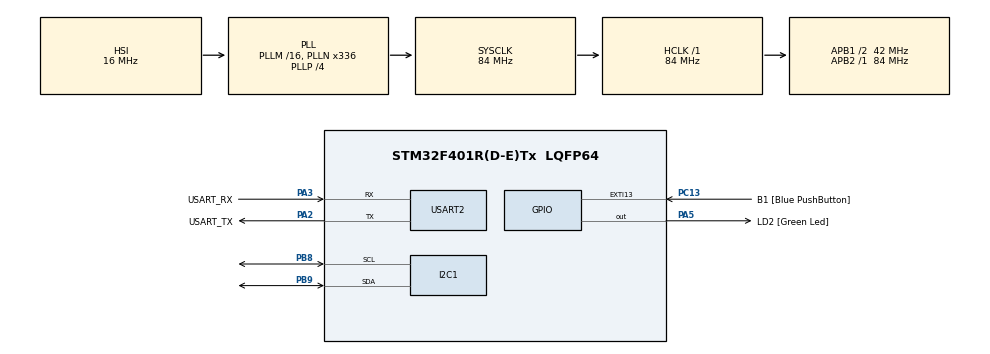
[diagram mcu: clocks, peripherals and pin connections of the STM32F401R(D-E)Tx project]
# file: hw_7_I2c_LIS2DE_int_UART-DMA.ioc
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Dma.Request0=USART2_TX
Dma.USART2_TX.0.Direction=DMA_MEMORY_TO_PERIPH
Dma.USART2_TX.0.FIFOMode=DMA_FIFOMODE_DISABLE
Dma.USART2_TX.0.Instance=DMA1_Stream6
Dma.USART2_TX.0.MemDataAlignment=DMA_MDATAALIGN_BYTE
Dma.USART2_TX.0.MemInc=DMA_MINC_ENABLE
Dma.USART2_TX.0.Mode=DMA_NORMAL
Dma.USART2_TX.0.PeriphDataAlignment=DMA_PDATAALIGN_BYTE
Dma.USART2_TX.0.PeriphInc=DMA_PINC_DISABLE
Dma.USART2_TX.0.Priority=DMA_PRIORITY_HIGH
Mcu.Family=STM32F4
Mcu.Name=STM32F401R(D-E)Tx
Mcu.Package=LQFP64
NVIC.DMA1_Stream6_IRQn=true\:0\:0\:false\:false\:true\:false\:true\:true
NVIC.PriorityGroup=NVIC_PRIORITYGROUP_0
NVIC.TIM1_UP_TIM10_IRQn=true\:0\:0\:false\:false\:true\:true\:true\:true
NVIC.USART2_IRQn=true\:0\:0\:false\:false\:true\:true\:true\:true
PA13.GPIO_Label=TMS
PA13.Mode=Serial_Wire
PA13.Signal=SYS_JTMS-SWDIO
PA14.GPIO_Label=TCK
PA14.Mode=Serial_Wire
PA14.Signal=SYS_JTCK-SWCLK
PA2.GPIO_Label=USART_TX
PA2.GPIO_Mode=GPIO_MODE_AF_PP
PA2.GPIO_PuPd=GPIO_NOPULL
PA2.GPIO_Speed=GPIO_SPEED_FREQ_LOW
PA2.Mode=Asynchronous
PA2.Signal=USART2_TX
PA3.GPIO_Label=USART_RX
PA3.GPIO_Mode=GPIO_MODE_AF_PP
PA3.GPIO_PuPd=GPIO_NOPULL
PA3.GPIO_Speed=GPIO_SPEED_FREQ_LOW
PA3.Mode=Asynchronous
PA3.Signal=USART2_RX
PA5.GPIO_Label=LD2 [Green Led]
PA5.GPIO_Mode=GPIO_MODE_OUTPUT_PP
PA5.GPIO_PuPd=GPIO_NOPULL
PA5.GPIO_Speed=GPIO_SPEED_FREQ_LOW
PA5.Signal=GPIO_Output
PB3.GPIO_Label=SWO
PB3.Signal=SYS_JTDO-SWO
PB8.Mode=I2C
PB8.Signal=I2C1_SCL
PB9.Mode=I2C
PB9.Signal=I2C1_SDA
PC13-ANTI_TAMP.GPIO_Label=B1 [Blue PushButton]
PC13-ANTI_TAMP.GPIO_ModeDefaultEXTI=GPIO_MODE_IT_FALLING
PC13-ANTI_TAMP.GPIO_PuPd=GPIO_NOPULL
PC13-ANTI_TAMP.Signal=GPXTI13
PC14-OSC32_IN.Mode=LSE-External-Oscillator
PC14-OSC32_IN.Signal=RCC_OSC32_IN
PC15-OSC32_OUT.Mode=LSE-External-Oscillator
PC15-OSC32_OUT.Signal=RCC_OSC32_OUT
PH0\ -\ OSC_IN.Mode=HSE-External-Clock-Source
PH0\ -\ OSC_IN.Signal=RCC_OSC_IN
PH1\ -\ OSC_OUT.Mode=HSE-External-Clock-Source
PH1\ -\ OSC_OUT.Signal=RCC_OSC_OUT
ProjectManager.HeapSize=0x200
ProjectManager.StackSize=0x400
ProjectManager.TargetToolchain=STM32CubeIDE
RCC.48MHZClocksFreq_Value=48000000
RCC.AHBFreq_Value=84000000
RCC.APB1CLKDivider=RCC_HCLK_DIV2
RCC.APB1Freq_Value=42000000
RCC.APB1TimFreq_Value=84000000
RCC.APB2Freq_Value=84000000
RCC.APB2TimFreq_Value=84000000
RCC.CortexFreq_Value=84000000
RCC.HCLKFreq_Value=84000000
RCC.HSE_VALUE=8000000
RCC.HSI_VALUE=16000000
RCC.PLLN=336
RCC.PLLP=RCC_PLLP_DIV4
RCC.PLLQ=7
RCC.SYSCLKFreq_VALUE=84000000
RCC.SYSCLKSource=RCC_SYSCLKSOURCE_PLLCLK
RCC.VCOOutputFreq_Value=336000000
TIM10.Period=10000-1
TIM10.Prescaler=8400-1
USART2.VirtualMode=VM_ASYNC
VP_TIM10_VS_ClockSourceINT.Mode=Enable_Timer
board=NUCLEO-F401RE

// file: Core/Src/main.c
/* USER CODE BEGIN Header */
/**
  ******************************************************************************
  * @file           : main.c
  * @brief          : Main program body
  ******************************************************************************
  * @attention
  *
  * Copyright (c) 2023 STMicroelectronics.
  * All rights reserved.
  *
  * This software is licensed under terms that can be found in the LICENSE file
  * in the root directory of this software component.
  * If no LICENSE file comes with this software, it is provided AS-IS.
  *
  ******************************************************************************
  */
/* USER CODE END Header */
#include "main.h"

I2C_HandleTypeDef hi2c1;

TIM_HandleTypeDef htim10;

UART_HandleTypeDef huart2;
DMA_HandleTypeDef hdma_usart2_tx;

/* USER CODE BEGIN PV */
uint8_t LIS2DE_ADDRESS = 0b01010000; // LIS2DE
//uint8_t LIS2DE_ADDRESS = 0b00110000; // LIS2DE12

uint8_t LIS2DE_CTRL_1[] = {0x20, 0b00010111}; // 1 Hz + XYZ
uint8_t LIS2DE_CTRL_2[] = {0x21, 0b00000000}; // no HPF
uint8_t LIS2DE_CTRL_4[] = {0x23, 0b00000000}; // continuous update + 2g FSR, no self test

uint8_t LIS2DE_X = 0x29;
uint8_t LIS2DE_Y = 0x2B;
uint8_t LIS2DE_Z = 0x2D;
/* USER CODE END PV */

void SystemClock_Config(void);
static void MX_GPIO_Init(void);
static void MX_DMA_Init(void);
static void MX_USART2_UART_Init(void);
static void MX_TIM10_Init(void);
static void MX_I2C1_Init(void);

/* USER CODE BEGIN 0 */

void HAL_TIM_PeriodElapsedCallback(TIM_HandleTypeDef *htim) {

	if (htim == &htim10) {

		int8_t accelerometer_x_raw;
		HAL_I2C_Master_Transmit(&hi2c1, LIS2DE_ADDRESS, &LIS2DE_X, 1, 50);
		HAL_I2C_Master_Receive(&hi2c1, LIS2DE_ADDRESS+1, &accelerometer_x_raw, 1, 50);

		int8_t accelerometer_y_raw;
		HAL_I2C_Master_Transmit(&hi2c1, LIS2DE_ADDRESS, &LIS2DE_Y, 1, 50);
		HAL_I2C_Master_Receive(&hi2c1, LIS2DE_ADDRESS+1, &accelerometer_y_raw, 1, 50);

		int8_t accelerometer_z_raw;
		HAL_I2C_Master_Transmit(&hi2c1, LIS2DE_ADDRESS, &LIS2DE_Z, 1, 50);
		HAL_I2C_Master_Receive(&hi2c1, LIS2DE_ADDRESS+1, &accelerometer_z_raw, 1, 50);

		float accelerometer_x = accelerometer_x_raw / 64.0;
		float accelerometer_y = accelerometer_y_raw / 64.0;
		float accelerometer_z = accelerometer_z_raw / 64.0;

		char string[64];
		snprintf(string, sizeof(string), "-> x: %+.2f g | y: %+.2f g | z: %+.2f g\r\n", accelerometer_x, accelerometer_y, accelerometer_z);
		HAL_UART_Transmit_DMA(&huart2, (uint8_t *)string, strlen(string));

	}

}

/* USER CODE END 0 */

int main(void)
{

  /* MCU Configuration--------------------------------------------------------*/

  /* Reset of all peripherals, Initializes the Flash interface and the Systick. */
  HAL_Init();

  /* Configure the system clock */
  SystemClock_Config();

  /* Initialize all configured peripherals */
  MX_GPIO_Init();
  MX_DMA_Init();
  MX_USART2_UART_Init();
  MX_TIM10_Init();
  MX_I2C1_Init();
  /* USER CODE BEGIN 2 */

  HAL_I2C_Master_Transmit(&hi2c1, LIS2DE_ADDRESS, LIS2DE_CTRL_1, sizeof(LIS2DE_CTRL_1), 50);
  HAL_I2C_Master_Transmit(&hi2c1, LIS2DE_ADDRESS, LIS2DE_CTRL_2, sizeof(LIS2DE_CTRL_2), 50);
  HAL_I2C_Master_Transmit(&hi2c1, LIS2DE_ADDRESS, LIS2DE_CTRL_4, sizeof(LIS2DE_CTRL_4), 50);

  HAL_TIM_Base_Start_IT(&htim10);

  /* USER CODE END 2 */

  /* Infinite loop */
  while (1)
  {

  }
}

void SystemClock_Config(void)
{
  RCC_OscInitTypeDef RCC_OscInitStruct = {0};
  RCC_ClkInitTypeDef RCC_ClkInitStruct = {0};

  /** Configure the main internal regulator output voltage
  */
  __HAL_RCC_PWR_CLK_ENABLE();
  __HAL_PWR_VOLTAGESCALING_CONFIG(PWR_REGULATOR_VOLTAGE_SCALE2);

  /** Initializes the RCC Oscillators according to the specified parameters
  * in the RCC_OscInitTypeDef structure.
  */
  RCC_OscInitStruct.OscillatorType = RCC_OSCILLATORTYPE_HSI;
  RCC_OscInitStruct.HSIState = RCC_HSI_ON;
  RCC_OscInitStruct.HSICalibrationValue = RCC_HSICALIBRATION_DEFAULT;
  RCC_OscInitStruct.PLL.PLLState = RCC_PLL_ON;
  RCC_OscInitStruct.PLL.PLLSource = RCC_PLLSOURCE_HSI;
  RCC_OscInitStruct.PLL.PLLM = 16;
  RCC_OscInitStruct.PLL.PLLN = 336;
  RCC_OscInitStruct.PLL.PLLP = RCC_PLLP_DIV4;
  RCC_OscInitStruct.PLL.PLLQ = 7;
  if (HAL_RCC_OscConfig(&RCC_OscInitStruct) != HAL_OK)
  {
    Error_Handler();
  }

  /** Initializes the CPU, AHB and APB buses clocks
  */
  RCC_ClkInitStruct.ClockType = RCC_CLOCKTYPE_HCLK|RCC_CLOCKTYPE_SYSCLK
                              |RCC_CLOCKTYPE_PCLK1|RCC_CLOCKTYPE_PCLK2;
  RCC_ClkInitStruct.SYSCLKSource = RCC_SYSCLKSOURCE_PLLCLK;
  RCC_ClkInitStruct.AHBCLKDivider = RCC_SYSCLK_DIV1;
  RCC_ClkInitStruct.APB1CLKDivider = RCC_HCLK_DIV2;
  RCC_ClkInitStruct.APB2CLKDivider = RCC_HCLK_DIV1;

  if (HAL_RCC_ClockConfig(&RCC_ClkInitStruct, FLASH_LATENCY_2) != HAL_OK)
  {
    Error_Handler();
  }
}

static void MX_I2C1_Init(void)
{

  hi2c1.Instance = I2C1;
  hi2c1.Init.ClockSpeed = 100000;
  hi2c1.Init.DutyCycle = I2C_DUTYCYCLE_2;
  hi2c1.Init.OwnAddress1 = 0;
  hi2c1.Init.AddressingMode = I2C_ADDRESSINGMODE_7BIT;
  hi2c1.Init.DualAddressMode = I2C_DUALADDRESS_DISABLE;
  hi2c1.Init.OwnAddress2 = 0;
  hi2c1.Init.GeneralCallMode = I2C_GENERALCALL_DISABLE;
  hi2c1.Init.NoStretchMode = I2C_NOSTRETCH_DISABLE;
  if (HAL_I2C_Init(&hi2c1) != HAL_OK)
  {
    Error_Handler();
  }

}

static void MX_TIM10_Init(void)
{

  htim10.Instance = TIM10;
  htim10.Init.Prescaler = 8400-1;
  htim10.Init.CounterMode = TIM_COUNTERMODE_UP;
  htim10.Init.Period = 10000-1;
  htim10.Init.ClockDivision = TIM_CLOCKDIVISION_DIV1;
  htim10.Init.AutoReloadPreload = TIM_AUTORELOAD_PRELOAD_DISABLE;
  if (HAL_TIM_Base_Init(&htim10) != HAL_OK)
  {
    Error_Handler();
  }

}

static void MX_USART2_UART_Init(void)
{

  huart2.Instance = USART2;
  huart2.Init.BaudRate = 115200;
  huart2.Init.WordLength = UART_WORDLENGTH_8B;
  huart2.Init.StopBits = UART_STOPBITS_1;
  huart2.Init.Parity = UART_PARITY_NONE;
  huart2.Init.Mode = UART_MODE_TX_RX;
  huart2.Init.HwFlowCtl = UART_HWCONTROL_NONE;
  huart2.Init.OverSampling = UART_OVERSAMPLING_16;
  if (HAL_UART_Init(&huart2) != HAL_OK)
  {
    Error_Handler();
  }

}

static void MX_DMA_Init(void)
{

  /* DMA controller clock enable */
  __HAL_RCC_DMA1_CLK_ENABLE();

  /* DMA interrupt init */
  /* DMA1_Stream6_IRQn interrupt configuration */
  HAL_NVIC_SetPriority(DMA1_Stream6_IRQn, 0, 0);
  HAL_NVIC_EnableIRQ(DMA1_Stream6_IRQn);

}

static void MX_GPIO_Init(void)
{
  GPIO_InitTypeDef GPIO_InitStruct = {0};

  /* GPIO Ports Clock Enable */
  __HAL_RCC_GPIOC_CLK_ENABLE();
  __HAL_RCC_GPIOH_CLK_ENABLE();
  __HAL_RCC_GPIOA_CLK_ENABLE();
  __HAL_RCC_GPIOB_CLK_ENABLE();

  /*Configure GPIO pin Output Level */
  HAL_GPIO_WritePin(LD2_GPIO_Port, LD2_Pin, GPIO_PIN_RESET);

  /*Configure GPIO pin : B1_Pin */
  GPIO_InitStruct.Pin = B1_Pin;
  GPIO_InitStruct.Mode = GPIO_MODE_IT_FALLING;
  GPIO_InitStruct.Pull = GPIO_NOPULL;
  HAL_GPIO_Init(B1_GPIO_Port, &GPIO_InitStruct);

  /*Configure GPIO pin : LD2_Pin */
  GPIO_InitStruct.Pin = LD2_Pin;
  GPIO_InitStruct.Mode = GPIO_MODE_OUTPUT_PP;
  GPIO_InitStruct.Pull = GPIO_NOPULL;
  GPIO_InitStruct.Speed = GPIO_SPEED_FREQ_LOW;
  HAL_GPIO_Init(LD2_GPIO_Port, &GPIO_InitStruct);

}

void Error_Handler(void)
{
  __disable_irq();
  while (1)
  {
  }
}
